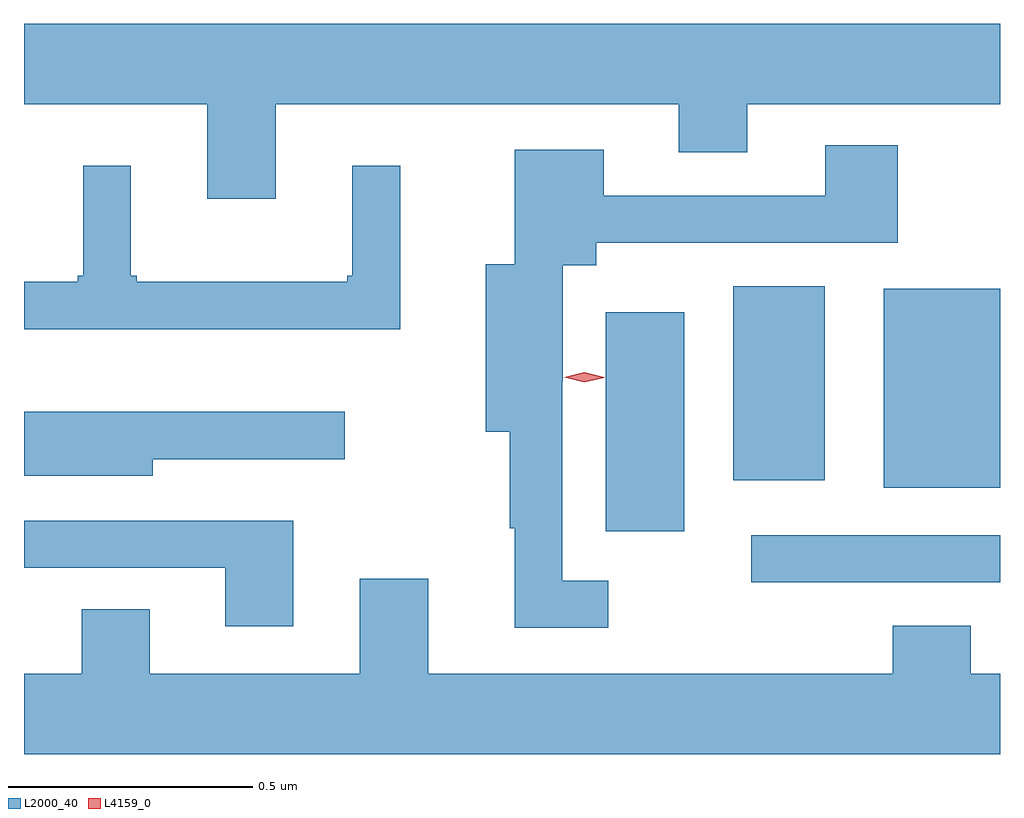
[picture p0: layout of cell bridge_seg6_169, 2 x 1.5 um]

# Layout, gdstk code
import gdstk
lib = gdstk.Library(unit=1e-6, precision=1e-09)
def R(c, l, rs):  # rectangles x0, y0, x1, y1
    for r in rs: c.add(gdstk.rectangle(r[:2], r[2:], *l))
def P(c, l, *ps):  # polygons
    for p in ps: c.add(gdstk.Polygon(p, *l))
L2000_40 = (2000, 40)
L4159_0 = (4159, 0)

bridge_seg6_169 = lib.new_cell('bridge_seg6_169')
R(bridge_seg6_169, L2000_40, [(594.525,969,595.035,969.096), (594.227,969.105,594.388,969.553), (594.797,969.194,595.035,969.601), (594.488,969.209,594.676,969.607)])
P(bridge_seg6_169, L2000_40, [(593.551,969.98),(594.377,969.98),(594.377,969.881),(594.517,969.881),(594.517,969.98),(595.035,969.98),(595.035,970.144),(593.035,970.144),(593.035,969.98),(593.411,969.98),(593.411,969.786),(593.551,969.786)],
  [(594.232,969.003),(594.138,969.003),(594.138,969.412),(594.139,969.412),(594.139,969.65),(594.208,969.65),(594.208,969.696),(594.825,969.696),(594.825,969.895),(594.677,969.895),(594.677,969.792),(594.223,969.792),(594.223,969.886),(594.041,969.886),(594.041,969.652),(593.981,969.652),(593.981,969.308),(594.03,969.308),(594.03,969.111),(594.041,969.111),(594.041,968.907),(594.232,968.907)],
  [(593.806,969.853),(593.708,969.853),(593.708,969.628),(593.697,969.628),(593.697,969.616),(593.266,969.616),(593.266,969.628),(593.254,969.628),(593.254,969.853),(593.156,969.853),(593.156,969.628),(593.145,969.628),(593.145,969.616),(593.035,969.616),(593.035,969.518),(593.806,969.518)],
  [(593.299,969.252),(593.692,969.252),(593.692,969.349),(593.035,969.349),(593.035,969.218),(593.299,969.218)],
  [(593.587,969.126),(593.035,969.126),(593.035,969.03),(593.447,969.03),(593.447,968.91),(593.587,968.91)],
  [(595.035,968.812),(594.975,968.812),(594.975,968.911),(594.815,968.911),(594.815,968.812),(593.863,968.812),(593.863,969.007),(593.723,969.007),(593.723,968.812),(593.293,968.812),(593.293,968.945),(593.153,968.945),(593.153,968.812),(593.035,968.812),(593.035,968.648),(595.035,968.648)])
P(bridge_seg6_169, L4159_0, [(594.183,969.41),(594.142,969.42),(594.142,969.42),(594.142,969.42),(594.183,969.43),(594.224,969.42),(594.224,969.42),(594.224,969.419)])

lib.write_gds('bridge_seg6_169.gds')
